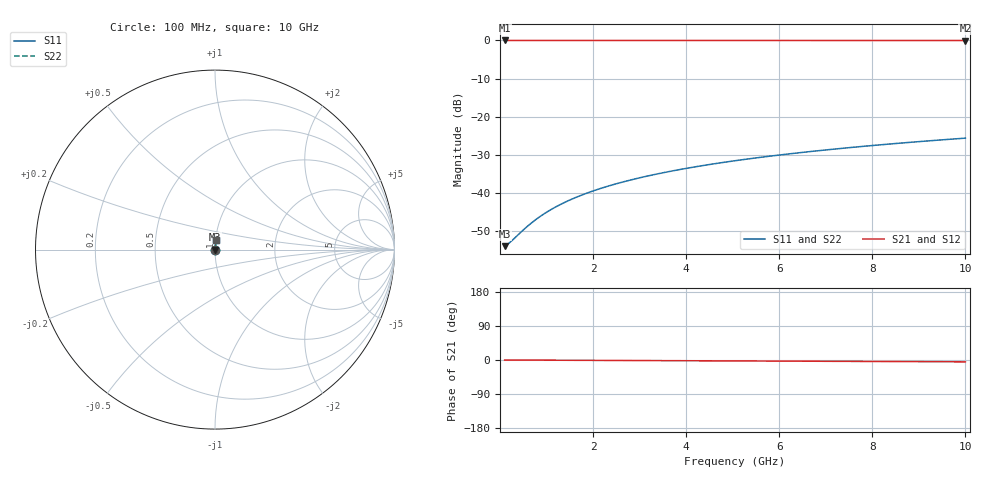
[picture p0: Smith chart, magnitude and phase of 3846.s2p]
# Hz S RI R 50.00
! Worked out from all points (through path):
!   100 points, 100 MHz to 10 GHz, reference 50 ohm
!   highest |S21| = -0.02 dB at 100 MHz (marker M1); lowest = 0.0 dB at 10 GHz (marker M2)
!   lowest |S11| = -53.9 dB at 100 MHz (marker M3), VSWR 1.00, Z = 50.2 + j0.0526 ohm
!   |S11| at or under -10 dB: start of sweep to end of sweep
!   |S22| runs from -53.9 to -25.6 dB; largest |S21 - S12| = 0
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1e8  0.00196 0.000524  0.998 -0.000842  0.998 -0.000842  0.00196 0.000524
2e8  0.00197 0.00105  0.998 -0.00168  0.998 -0.00168  0.00197 0.00105
6e8  0.00201 0.00314  0.998 -0.00505  0.998 -0.00505  0.00201 0.00314
7e8  0.00203 0.00366  0.998 -0.00589  0.998 -0.00589  0.00203 0.00366
9e8  0.00205 0.00471  0.9979 -0.00757  0.9979 -0.00757  0.00205 0.00471
1.1e9  0.00207 0.00576  0.9979 -0.00926  0.9979 -0.00926  0.00207 0.00576
1.3e9  0.0021 0.0068  0.9979 -0.0109  0.9979 -0.0109  0.0021 0.0068
1.5e9  0.00213 0.00785  0.9978 -0.0126  0.9978 -0.0126  0.00213 0.00785
1.8e9  0.00219 0.00942  0.9978 -0.0151  0.9978 -0.0151  0.00219 0.00942
2.1e9  0.00224 0.011  0.9977 -0.0177  0.9977 -0.0177  0.00224 0.011
2.5e9  0.00234 0.0131  0.9976 -0.021  0.9976 -0.021  0.00234 0.0131
2.9e9  0.00244 0.0152  0.9975 -0.0244  0.9975 -0.0244  0.00244 0.0152
3.4e9  0.00259 0.0178  0.9973 -0.0286  0.9973 -0.0286  0.00259 0.0178
3.8e9  0.00272 0.0199  0.9972 -0.032  0.9972 -0.032  0.00272 0.0199
4.2e9  0.00287 0.022  0.997 -0.0353  0.997 -0.0353  0.00287 0.022
4.6e9  0.00303 0.0241  0.9968 -0.0387  0.9968 -0.0387  0.00303 0.0241
5.1e9  0.00326 0.0267  0.9966 -0.0429  0.9966 -0.0429  0.00326 0.0267
5.9e9  0.00366 0.0308  0.9961 -0.0496  0.9961 -0.0496  0.00366 0.0308
6.7e9  0.00412 0.035  0.9956 -0.0564  0.9956 -0.0564  0.00412 0.035
7.5e9  0.00463 0.0392  0.9951 -0.0631  0.9951 -0.0631  0.00463 0.0392
8.4e9  0.00528 0.0438  0.9943 -0.0706  0.9943 -0.0706  0.00528 0.0438
1e10  0.0066 0.0521  0.9929 -0.0841  0.9929 -0.0841  0.0066 0.0521
